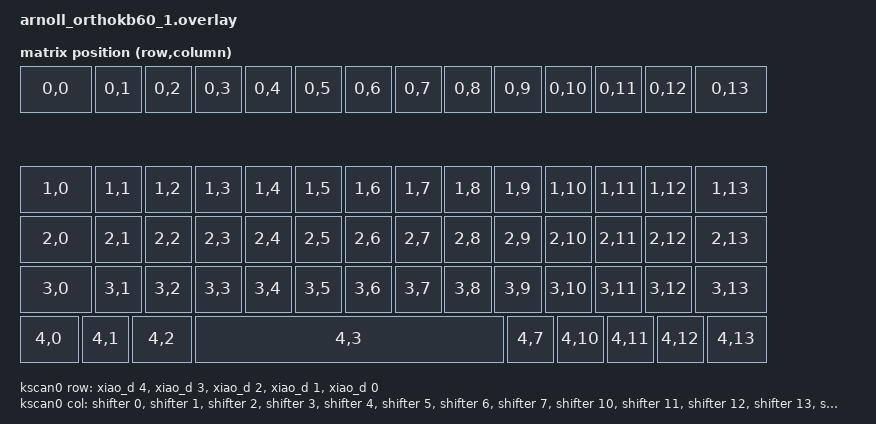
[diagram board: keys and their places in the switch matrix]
#include <dt-bindings/zmk/matrix_transform.h>
#include <physical_layouts.dtsi>

&xiao_serial { status = "disabled"; };
    // https://github.com/petejohanson/revxlp-config/blob/main/config/boards/shields/revxlp/revxlp.overlay#L10

&xiao_spi {
    status = "okay";
    cs-gpios = <&xiao_d 5 GPIO_ACTIVE_LOW>;
    shifter: 595@0 {
        compatible = "zmk,gpio-595";
        status = "okay";
        gpio-controller;
        spi-max-frequency = <200000>;
        reg = <0>;
        #gpio-cells = <2>;
        ngpios = <8>;  // TODO: Change to 24
    };
};

/ {
    chosen {
		zmk,physical-layout = &physical_layout0;  // NOTE: To uncomment this line, uncomment physical_layout0 around line 86~87 and position_map below that, too
		zmk,kscan = &kscan0;
	};

    default_transform: keymap_transform0 { 
        compatible = "zmk,matrix-transform";
        columns = <21>; // Length of the "col-gpios" array
        rows = <6>; // Length of the "row-gpios" array
        map = <
            RC(0,0)  RC(0,1)  RC(0,2)  RC(0,3)  RC(0,4)  RC(0,5)  RC(0,6)  RC(0,7)  RC(0,8)  RC(0,9)  RC(0,10) RC(0,11) RC(0,12) RC(0,13) 
            RC(1,0)  RC(1,1)  RC(1,2)  RC(1,3)  RC(1,4)  RC(1,5)  RC(1,6)  RC(1,7)  RC(1,8)  RC(1,9)  RC(1,10) RC(1,11) RC(1,12) RC(1,13) 
            RC(2,0)  RC(2,1)  RC(2,2)  RC(2,3)  RC(2,4)  RC(2,5)  RC(2,6)  RC(2,7)  RC(2,8)  RC(2,9)  RC(2,10) RC(2,11) RC(2,12) RC(2,13) 
            RC(3,0)  RC(3,1)  RC(3,2)  RC(3,3)  RC(3,4)  RC(3,5)  RC(3,6)  RC(3,7)  RC(3,8)  RC(3,9)  RC(3,10) RC(3,11) RC(3,12) RC(3,13) 
            RC(4,0)  RC(4,1)  RC(4,2)  RC(4,3)                             RC(4,7)                    RC(4,10) RC(4,11) RC(4,12) RC(4,13) 
        >;
        // Generated with C++23 code at the root dictionary of this repo
    };

    kscan0: kscan0 {
        compatible = "zmk,kscan-gpio-matrix";
        diode-direction = "col2row";
        wakeup-source;
        
        col-gpios
            = <&shifter 0 GPIO_ACTIVE_HIGH>
            , <&shifter 1 GPIO_ACTIVE_HIGH>
            , <&shifter 2 GPIO_ACTIVE_HIGH>
            , <&shifter 3 GPIO_ACTIVE_HIGH>
            , <&shifter 4 GPIO_ACTIVE_HIGH>
            , <&shifter 5 GPIO_ACTIVE_HIGH>
            , <&shifter 6 GPIO_ACTIVE_HIGH>
            , <&shifter 7 GPIO_ACTIVE_HIGH>
            // , <&shifter 8 GPIO_ACTIVE_HIGH>
            // , <&shifter 9 GPIO_ACTIVE_HIGH>
            , <&shifter 10 GPIO_ACTIVE_HIGH>
            , <&shifter 11 GPIO_ACTIVE_HIGH>
            , <&shifter 12 GPIO_ACTIVE_HIGH>
            , <&shifter 13 GPIO_ACTIVE_HIGH>
            , <&shifter 14 GPIO_ACTIVE_HIGH>
            , <&shifter 15 GPIO_ACTIVE_HIGH>
            ;

        row-gpios
            = <&xiao_d 4 (GPIO_ACTIVE_HIGH | GPIO_PULL_DOWN)>
            , <&xiao_d 3 (GPIO_ACTIVE_HIGH | GPIO_PULL_DOWN)>
            , <&xiao_d 2 (GPIO_ACTIVE_HIGH | GPIO_PULL_DOWN)>
            , <&xiao_d 1 (GPIO_ACTIVE_HIGH | GPIO_PULL_DOWN)>
            , <&xiao_d 0 (GPIO_ACTIVE_HIGH | GPIO_PULL_DOWN)>
            ;
    };

    //  NOTE: to uncomment this node, uncomment the line in /chosen at line 23 and position_map below this, too
    physical_layout0: physical_layout0 { // https://zmk.dev/docs/development/hardware-integration/physical-layouts#multiple-physical-layouts/
        compatible = "zmk,physical-layout";
        display-name = "Default Layout";
        transform = <&default_transform>;
        kscan = <&kscan0>;
        keys  //                      w   h    x   y rot rx ry //(Ln, key), 1-based
            = <&key_physical_attrs  150 100    0   0   0  0  0> // 1, 1   1.5u
            , <&key_physical_attrs  100 100  150   0   0  0  0> // 1, 2     1u
            , <&key_physical_attrs  100 100  250   0   0  0  0> // 1, 3     1u
            , <&key_physical_attrs  100 100  350   0   0  0  0> // 1, 4     1u
            , <&key_physical_attrs  100 100  450   0   0  0  0> // 1, 5     1u
            , <&key_physical_attrs  100 100  550   0   0  0  0> // 1, 6     1u
            , <&key_physical_attrs  100 100  650   0   0  0  0> // 1, 7     1u
            , <&key_physical_attrs  100 100  750   0   0  0  0> // 1, 8     1u
            , <&key_physical_attrs  100 100  850   0   0  0  0> // 1, 9     1u
            , <&key_physical_attrs  100 100  950   0   0  0  0> // 1, 10    1u
            , <&key_physical_attrs  100 100 1050   0   0  0  0> // 1, 11    1u
            , <&key_physical_attrs  100 100 1150   0   0  0  0> // 1, 12    1u
            , <&key_physical_attrs  100 100 1250   0   0  0  0> // 1, 13    1u
            , <&key_physical_attrs  150 100 1350   0   0  0  0> // 1, 14  1.5u

            , <&key_physical_attrs  150 100    0 200   0  0  0> // 2, 1   1.5u
            , <&key_physical_attrs  100 100  150 200   0  0  0> // 2, 2     1u
            , <&key_physical_attrs  100 100  250 200   0  0  0> // 2, 3     1u
            , <&key_physical_attrs  100 100  350 200   0  0  0> // 2, 4     1u
            , <&key_physical_attrs  100 100  450 200   0  0  0> // 2, 5     1u
            , <&key_physical_attrs  100 100  550 200   0  0  0> // 2, 6     1u
            , <&key_physical_attrs  100 100  650 200   0  0  0> // 2, 7     1u
            , <&key_physical_attrs  100 100  750 200   0  0  0> // 2, 8     1u
            , <&key_physical_attrs  100 100  850 200   0  0  0> // 2, 9     1u
            , <&key_physical_attrs  100 100  950 200   0  0  0> // 2, 10    1u
            , <&key_physical_attrs  100 100 1050 200   0  0  0> // 2, 11    1u
            , <&key_physical_attrs  100 100 1150 200   0  0  0> // 2, 12    1u
            , <&key_physical_attrs  100 100 1250 200   0  0  0> // 2, 13    1u
            , <&key_physical_attrs  150 100 1350 200   0  0  0> // 2, 14  1.5u

            , <&key_physical_attrs  150 100    0 300   0  0  0> // 3, 1   1.5u
            , <&key_physical_attrs  100 100  150 300   0  0  0> // 3, 2     1u
            , <&key_physical_attrs  100 100  250 300   0  0  0> // 3, 3     1u
            , <&key_physical_attrs  100 100  350 300   0  0  0> // 3, 4     1u
            , <&key_physical_attrs  100 100  450 300   0  0  0> // 3, 5     1u
            , <&key_physical_attrs  100 100  550 300   0  0  0> // 3, 6     1u
            , <&key_physical_attrs  100 100  650 300   0  0  0> // 3, 7     1u
            , <&key_physical_attrs  100 100  750 300   0  0  0> // 3, 8     1u
            , <&key_physical_attrs  100 100  850 300   0  0  0> // 3, 9     1u
            , <&key_physical_attrs  100 100  950 300   0  0  0> // 3, 10    1u
            , <&key_physical_attrs  100 100 1050 300   0  0  0> // 3, 11    1u
            , <&key_physical_attrs  100 100 1150 300   0  0  0> // 3, 12    1u
            , <&key_physical_attrs  100 100 1250 300   0  0  0> // 3, 13    1u
            , <&key_physical_attrs  150 100 1350 300   0  0  0> // 3, 14  1.5u

            , <&key_physical_attrs  150 100    0 400   0  0  0> // 4, 1   1.5u
            , <&key_physical_attrs  100 100  150 400   0  0  0> // 4, 2     1u
            , <&key_physical_attrs  100 100  250 400   0  0  0> // 4, 3     1u
            , <&key_physical_attrs  100 100  350 400   0  0  0> // 4, 4     1u
            , <&key_physical_attrs  100 100  450 400   0  0  0> // 4, 5     1u
            , <&key_physical_attrs  100 100  550 400   0  0  0> // 4, 6     1u
            , <&key_physical_attrs  100 100  650 400   0  0  0> // 4, 7     1u
            , <&key_physical_attrs  100 100  750 400   0  0  0> // 4, 8     1u
            , <&key_physical_attrs  100 100  850 400   0  0  0> // 4, 9     1u
            , <&key_physical_attrs  100 100  950 400   0  0  0> // 4, 10    1u
            , <&key_physical_attrs  100 100 1050 400   0  0  0> // 4, 11    1u
            , <&key_physical_attrs  100 100 1150 400   0  0  0> // 4, 12    1u
            , <&key_physical_attrs  100 100 1250 400   0  0  0> // 4, 13    1u
            , <&key_physical_attrs  150 100 1350 400   0  0  0> // 4, 14  1.5u

            , <&key_physical_attrs  125 100    0 500   0  0  0> // 5, 1  1.25u
            , <&key_physical_attrs  100 100  125 500   0  0  0> // 5, 2     1u
            , <&key_physical_attrs  125 100  225 500   0  0  0> // 5, 3  1.25u
            , <&key_physical_attrs  625 100  350 500   0  0  0> // 5, 4  6.25u
            , <&key_physical_attrs  100 100  975 500   0  0  0> // 5, 5     1u
            , <&key_physical_attrs  100 100 1075 500   0  0  0> // 5, 6     1u
            , <&key_physical_attrs  100 100 1175 500   0  0  0> // 5, 7     1u
            , <&key_physical_attrs  100 100 1275 500   0  0  0> // 5, 8     1u
            , <&key_physical_attrs  125 100 1375 500   0  0  0> // 5, 9  1.25u
            ;
            // Generated with C++23 code at the root dictionary of this repo
    };

    //  NOTE: to uncomment this node, uncomment the line in /chosen at line 23 and physical_layout0 around line 86~87, too
    position_map { // https://zmk.dev/docs/development/hardware-integration/physical-layouts#writing-a-position-map
        compatible = "zmk,physical-layout-position-map";
        complete; // Optional, see 'Example non-complete position map'
        layout1: layout1 {
            physical-layout = <&physical_layout0>;
            positions = 
            <   0   1   2   3   4   5   6   7   8   9  10  11  12  13 >,
            <  14  15  16  17  18  19  20  21  22  23  24  25  26  27 >,
            <  28  29  30  31  32  33  34  35  36  37  38  39  40  41 >,
            <  42  43  44  45  46  47  48  49  50  51  52  53  54  55 >,
            <  56  57  58              59          60  61  62  63  64 >;
            // Generated with C++23 code at the root dictionary of this repo
        };
    };  
};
